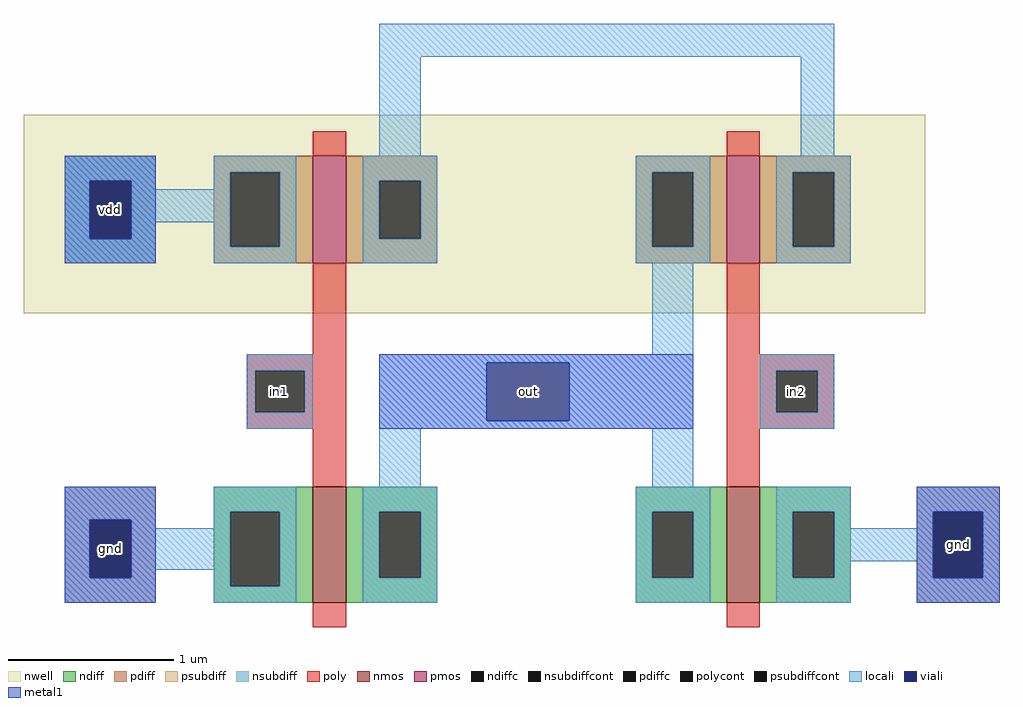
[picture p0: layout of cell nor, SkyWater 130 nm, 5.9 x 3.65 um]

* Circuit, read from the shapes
.subckt nor gnd in1 in2 out vdd
XM1 out in1 gnd gnd sky130_fd_pr__nfet_01v8 w=0.7 l=0.2
XM2 gnd in2 out gnd sky130_fd_pr__nfet_01v8 w=0.7 l=0.2
XM3 n1 in1 vdd vdd sky130_fd_pr__pfet_01v8 w=0.65 l=0.2
XM4 n1 in2 out vdd sky130_fd_pr__pfet_01v8 w=0.65 l=0.2
.ends

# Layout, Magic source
magic #  THIS IS NOR GATE!!
tech sky130A
<< nwell >>
rect -245 20 300 140
<< nmos >>
rect -70 -155 -50 -85
rect 180 -155 200 -85
<< pmos >>
rect -70 50 -50 115
rect 180 50 200 115
<< ndiff >>
rect -130 -100 -70 -85
rect -130 -145 -120 -100
rect -90 -145 -70 -100
rect -130 -155 -70 -145
rect -50 -100 5 -85
rect -50 -140 -30 -100
rect -5 -140 5 -100
rect -50 -155 5 -140
rect 125 -100 180 -85
rect 125 -140 135 -100
rect 160 -140 180 -100
rect 125 -155 180 -140
rect 200 -100 255 -85
rect 200 -140 220 -100
rect 245 -140 255 -100
rect 200 -155 255 -140
<< pdiff >>
rect -130 105 -70 115
rect -130 60 -120 105
rect -90 60 -70 105
rect -130 50 -70 60
rect -50 100 5 115
rect -50 65 -30 100
rect -5 65 5 100
rect -50 50 5 65
rect 125 105 180 115
rect 125 60 135 105
rect 160 60 180 105
rect 125 50 180 60
rect 200 105 255 115
rect 200 60 220 105
rect 245 60 255 105
rect 200 50 255 60
<< ndiffc >>
rect -120 -145 -90 -100
rect -30 -140 -5 -100
rect 135 -140 160 -100
rect 220 -140 245 -100
<< pdiffc >>
rect -120 60 -90 105
rect -30 65 -5 100
rect 135 60 160 105
rect 220 60 245 105
<< psubdiff >>
rect -220 -105 -165 -85
rect -220 -140 -205 -105
rect -180 -140 -165 -105
rect -220 -155 -165 -140
rect 295 -100 345 -85
rect 295 -140 305 -100
rect 335 -140 345 -100
rect 295 -155 345 -140
<< nsubdiff >>
rect -220 100 -165 115
rect -220 65 -205 100
rect -180 65 -165 100
rect -220 50 -165 65
<< psubdiffcont >>
rect -205 -140 -180 -105
rect 305 -140 335 -100
<< nsubdiffcont >>
rect -205 65 -180 100
<< poly >>
rect -70 115 -50 130
rect 180 115 200 130
rect -70 -5 -50 50
rect -110 -15 -50 -5
rect -110 -40 -105 -15
rect -75 -40 -50 -15
rect -110 -50 -50 -40
rect -70 -85 -50 -50
rect 180 -5 200 50
rect 180 -15 245 -5
rect 180 -40 210 -15
rect 235 -40 245 -15
rect 180 -50 245 -40
rect 180 -85 200 -50
rect -70 -170 -50 -155
rect 180 -170 200 -155
<< polycont >>
rect -105 -40 -75 -15
rect 210 -40 235 -15
<< locali >>
rect -30 175 245 195
rect -30 115 -5 175
rect 225 115 245 175
rect -220 100 -165 115
rect -220 65 -205 100
rect -180 95 -165 100
rect -130 105 -80 115
rect -130 95 -120 105
rect -180 75 -120 95
rect -180 65 -165 75
rect -220 50 -165 65
rect -130 60 -120 75
rect -90 60 -80 105
rect -130 50 -80 60
rect -40 100 5 115
rect -40 65 -30 100
rect -5 65 5 100
rect -40 50 5 65
rect 125 105 170 115
rect 125 60 135 105
rect 160 60 170 105
rect 125 50 170 60
rect 210 105 255 115
rect 210 60 220 105
rect 245 60 255 105
rect 210 50 255 60
rect 135 -5 160 50
rect -110 -15 -70 -5
rect -110 -40 -105 -15
rect -75 -40 -70 -15
rect -110 -50 -70 -40
rect -30 -10 160 -5
rect -30 -45 35 -10
rect 85 -45 160 -10
rect -30 -50 160 -45
rect 200 -15 245 -5
rect 200 -40 210 -15
rect 235 -40 245 -15
rect 200 -50 245 -40
rect -30 -85 -5 -50
rect 135 -85 160 -50
rect -220 -105 -165 -85
rect -220 -140 -205 -105
rect -180 -110 -165 -105
rect -130 -100 -80 -85
rect -130 -110 -120 -100
rect -180 -135 -120 -110
rect -180 -140 -165 -135
rect -220 -155 -165 -140
rect -130 -145 -120 -135
rect -90 -145 -80 -100
rect -130 -155 -80 -145
rect -40 -100 5 -85
rect -40 -140 -30 -100
rect -5 -140 5 -100
rect -40 -155 5 -140
rect 125 -100 170 -85
rect 125 -140 135 -100
rect 160 -140 170 -100
rect 125 -155 170 -140
rect 210 -100 255 -85
rect 210 -140 220 -100
rect 245 -110 255 -100
rect 295 -100 345 -85
rect 295 -110 305 -100
rect 245 -130 305 -110
rect 245 -140 255 -130
rect 210 -155 255 -140
rect 295 -140 305 -130
rect 335 -140 345 -100
rect 295 -155 345 -140
<< viali >>
rect -205 65 -180 100
rect 35 -45 85 -10
rect -205 -140 -180 -105
rect 305 -140 335 -100
<< metal1 >>
rect -220 100 -165 115
rect -220 65 -205 100
rect -180 65 -165 100
rect -220 50 -165 65
rect -30 -10 160 -5
rect -30 -45 35 -10
rect 85 -45 160 -10
rect -30 -50 160 -45
rect -220 -105 -165 -85
rect -220 -140 -205 -105
rect -180 -140 -165 -105
rect -220 -155 -165 -140
rect 295 -100 345 -85
rect 295 -140 305 -100
rect 335 -140 345 -100
rect 295 -155 345 -140
<< labels >>
rlabel nwell -205 65 -180 100 1 vdd
rlabel polycont -105 -40 -75 -15 1 in1
rlabel viali 35 -45 85 -10 1 out
rlabel polycont 210 -40 235 -15 1 in2
rlabel metal1 -205 -140 -180 -105 1 gnd
rlabel metal1 305 -140 335 -100 1 gnd
<< end >>
